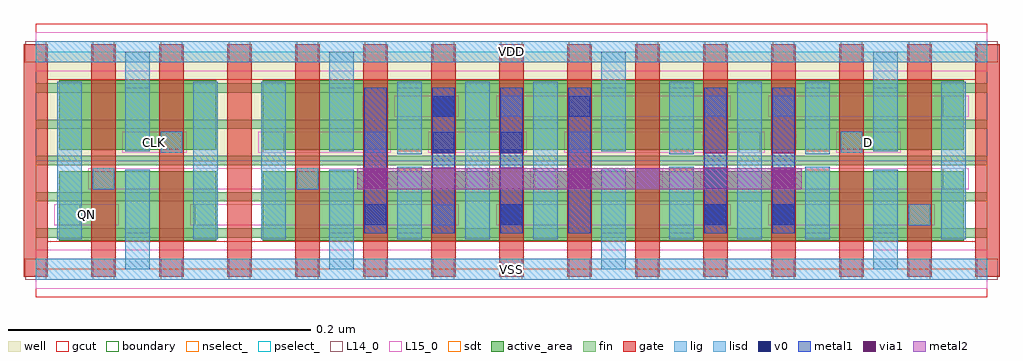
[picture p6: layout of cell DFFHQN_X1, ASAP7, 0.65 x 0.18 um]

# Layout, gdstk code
import gdstk
lib = gdstk.Library(unit=1e-6, precision=2.5e-10)
def R(c, l, rs):  # rectangles x0, y0, x1, y1
    for r in rs: c.add(gdstk.rectangle(r[:2], r[2:], *l))
def A(c, l, x, y, w, h, nx, ny, dx, dy):  # array of equal rectangles
    R(c, l, [(x+i*dx, y+j*dy, x+i*dx+w, y+j*dy+h) for i in range(nx) for j in range(ny)])
well = (1, 0)
fin = (2, 0)
gate = (7, 0)
gcut = (10, 0)
active_area = (11, 0)
nselect_ = (12, 0)
pselect_ = (13, 0)
L14_0 = (14, 0)
L15_0 = (15, 0)
lig = (16, 0)
lisd = (17, 0)
v0 = (18, 0)
metal1 = (19, 0)
metal2 = (20, 0)
via1 = (21, 0)
sdt = (88, 0)
boundary = (100, 0)

dffhqn_x1 = lib.new_cell('DFFHQN_X1')
R(dffhqn_x1, well, [(0,0.072,0.63,0.144)])
A(dffhqn_x1, fin, 0, 0.021, 0.63, 0.006, 1, 5, 0, 0.024)
A(dffhqn_x1, gate, -0.008, -0.005, 0.016, 0.154, 6, 1, 0.045, 0)
A(dffhqn_x1, gate, 0.532, -0.005, 0.016, 0.154, 3, 1, 0.045, 0)
R(dffhqn_x1, gate, [(0.262,-0.005,0.278,0.067), (0.307,-0.005,0.323,0.067), (0.352,-0.005,0.368,0.149), (0.397,-0.005,0.413,0.149), (0.442,-0.005,0.458,0.067), (0.487,-0.005,0.503,0.067), (0.262,0.077,0.278,0.149), (0.307,0.077,0.323,0.149), (0.442,0.077,0.458,0.149), (0.487,0.077,0.503,0.149)])
R(dffhqn_x1, gcut, [(0,-0.0185,0.63,0.0185), (-0.008,-0.005,0.008,0.149), (0.622,-0.005,0.638,0.149), (0.262,0.067,0.278,0.077), (0.307,0.067,0.323,0.077), (0.442,0.067,0.458,0.077), (0.487,0.067,0.503,0.077), (0,0.1255,0.63,0.1625)])
A(dffhqn_x1, active_area, 0.1505, 0.019, 0.059, 0.046, 10, 2, 0.045, 0.06)
R(dffhqn_x1, active_area, [(0.0155,0.019,0.0745,0.065), (0.0605,0.019,0.1195,0.065), (0.0155,0.079,0.0745,0.125), (0.0605,0.079,0.1195,0.125)])
R(dffhqn_x1, nselect_, [(0,0,0.63,0.072)])
R(dffhqn_x1, pselect_, [(0,0.072,0.63,0.144)])
A(dffhqn_x1, L14_0, -0.007, -0.007, 0.014, 0.014, 15, 2, 0.045, 0.144)
A(dffhqn_x1, L14_0, 0.083, 0.077, 0.014, 0.014, 3, 1, 0.0675, 0)
R(dffhqn_x1, L14_0, [(0.0155,0.029,0.0295,0.043), (0.1055,0.029,0.1195,0.043), (0.263,0.029,0.277,0.043), (0.308,0.029,0.322,0.043), (0.443,0.029,0.457,0.043), (0.488,0.029,0.502,0.043), (0.578,0.029,0.592,0.043), (0.038,0.053,0.052,0.067), (0.173,0.053,0.187,0.067), (0.2855,0.053,0.2995,0.067), (0.3305,0.053,0.3445,0.067), (0.398,0.053,0.412,0.067), (0.6005,0.053,0.6145,0.067), (0.353,0.077,0.367,0.091), (0.4655,0.077,0.4795,0.091), (0.533,0.077,0.547,0.091), (0.263,0.101,0.277,0.115), (0.308,0.101,0.322,0.115), (0.443,0.101,0.457,0.115), (0.488,0.101,0.502,0.115), (0.6005,0.101,0.6145,0.115)])
R(dffhqn_x1, L15_0, [(0,-0.013,0.63,0.013), (0.0125,0.029,0.055,0.043), (0.1025,0.029,0.28,0.043), (0.305,0.029,0.46,0.043), (0.485,0.029,0.595,0.043), (0.035,0.053,0.3025,0.067), (0.3275,0.053,0.415,0.067), (0.44,0.053,0.6175,0.067), (0.0575,0.077,0.1,0.091), (0.1475,0.077,0.235,0.091), (0.26,0.077,0.325,0.091), (0.35,0.077,0.4825,0.091), (0.53,0.077,0.5725,0.091), (0.2375,0.101,0.28,0.115), (0.305,0.101,0.46,0.115), (0.485,0.101,0.6175,0.115), (0,0.131,0.63,0.157)])
A(dffhqn_x1, lig, 0.083, 0.077, 0.014, 0.014, 3, 1, 0.135, 0)
R(dffhqn_x1, lig, [(0,-0.007,0.63,0.007), (0.263,0.029,0.277,0.043), (0.308,0.029,0.322,0.043), (0.443,0.029,0.457,0.043), (0.488,0.029,0.502,0.043), (0.578,0.029,0.592,0.043), (0.038,0.053,0.052,0.067), (0.173,0.053,0.187,0.067), (0.398,0.053,0.412,0.067), (0.533,0.077,0.547,0.091), (0.263,0.101,0.277,0.115), (0.308,0.101,0.322,0.115), (0.443,0.101,0.457,0.115), (0.488,0.101,0.502,0.115), (0,0.137,0.63,0.151)])
R(dffhqn_x1, lisd, [(0.0595,0,0.0755,0.066), (0.0595,0,0.0755,0.066), (0.1945,0,0.2105,0.066), (0.1945,0,0.2105,0.066), (0.3745,0,0.3905,0.066), (0.3745,0,0.3905,0.066), (0.5545,0,0.5705,0.066), (0.5545,0,0.5705,0.066), (0.0145,0.02,0.0305,0.124), (0.1045,0.02,0.1205,0.124), (0.1495,0.02,0.1655,0.124), (0.2395,0.02,0.2555,0.068), (0.2395,0.02,0.2555,0.068), (0.2845,0.02,0.3005,0.124), (0.2845,0.02,0.3005,0.124), (0.3295,0.02,0.3455,0.124), (0.3295,0.02,0.3455,0.124), (0.4195,0.02,0.4355,0.068), (0.4195,0.02,0.4355,0.068), (0.4645,0.02,0.4805,0.124), (0.4645,0.02,0.4805,0.124), (0.5095,0.02,0.5255,0.068), (0.5095,0.02,0.5255,0.068), (0.5995,0.02,0.6155,0.124), (0.2395,0.076,0.2555,0.124), (0.2395,0.076,0.2555,0.124), (0.4195,0.076,0.4355,0.124), (0.4195,0.076,0.4355,0.124), (0.5095,0.076,0.5255,0.124), (0.5095,0.076,0.5255,0.124), (0.0595,0.078,0.0755,0.144), (0.0595,0.078,0.0755,0.144), (0.1945,0.078,0.2105,0.144), (0.1945,0.078,0.2105,0.144), (0.3745,0.078,0.3905,0.144), (0.3745,0.078,0.3905,0.144), (0.5545,0.078,0.5705,0.144), (0.5545,0.078,0.5705,0.144)])
R(dffhqn_x1, v0, [(0.218,0.029,0.232,0.043), (0.308,0.029,0.322,0.043), (0.443,0.029,0.457,0.043), (0.488,0.029,0.502,0.043), (0.443,0.053,0.457,0.067), (0.263,0.077,0.277,0.091), (0.308,0.077,0.322,0.091), (0.263,0.101,0.277,0.115), (0.353,0.101,0.367,0.115)])
A(dffhqn_x1, metal1, 0.2175, 0.024, 0.015, 0.096, 4, 1, 0.045, 0)
R(dffhqn_x1, metal1, [(0.4425,0.024,0.4575,0.12), (0.4875,0.024,0.5025,0.12)])
R(dffhqn_x1, metal2, [(0.213,0.053,0.507,0.067)])
A(dffhqn_x1, via1, 0.218, 0.053, 0.014, 0.014, 3, 1, 0.135, 0)
R(dffhqn_x1, sdt, [(0.0145,0.02,0.0305,0.124), (0.1045,0.02,0.1205,0.124), (0.1495,0.02,0.1655,0.124), (0.2845,0.02,0.3005,0.124), (0.2845,0.02,0.3005,0.124), (0.3295,0.02,0.3455,0.124), (0.3295,0.02,0.3455,0.124), (0.4645,0.02,0.4805,0.124), (0.4645,0.02,0.4805,0.124), (0.5995,0.02,0.6155,0.124), (0.0595,0.024,0.0755,0.066), (0.0595,0.024,0.0755,0.066), (0.1945,0.024,0.2105,0.066), (0.1945,0.024,0.2105,0.066), (0.2395,0.024,0.2555,0.066), (0.2395,0.024,0.2555,0.066), (0.3745,0.024,0.3905,0.066), (0.3745,0.024,0.3905,0.066), (0.4195,0.024,0.4355,0.066), (0.4195,0.024,0.4355,0.066), (0.5095,0.024,0.5255,0.066), (0.5095,0.024,0.5255,0.066), (0.5545,0.024,0.5705,0.066), (0.5545,0.024,0.5705,0.066), (0.0595,0.078,0.0755,0.12), (0.0595,0.078,0.0755,0.12), (0.1945,0.078,0.2105,0.12), (0.1945,0.078,0.2105,0.12), (0.2395,0.078,0.2555,0.12), (0.2395,0.078,0.2555,0.12), (0.3745,0.078,0.3905,0.12), (0.3745,0.078,0.3905,0.12), (0.4195,0.078,0.4355,0.12), (0.4195,0.078,0.4355,0.12), (0.5095,0.078,0.5255,0.12), (0.5095,0.078,0.5255,0.12), (0.5545,0.078,0.5705,0.12), (0.5545,0.078,0.5705,0.12)])
R(dffhqn_x1, boundary, [(0,0,0.63,0.144)])
dffhqn_x1.add(gdstk.Label('VDD', (0.315,0.144), layer=1, texttype=251))
dffhqn_x1.add(gdstk.Label('VSS', (0.315,0), layer=3, texttype=251))
dffhqn_x1.add(gdstk.Label('QN', (0.0338,0.036), layer=15, texttype=251))
dffhqn_x1.add(gdstk.Label('CLK', (0.0788,0.084), layer=15, texttype=251))
dffhqn_x1.add(gdstk.Label('D', (0.5513,0.084), layer=15, texttype=251))
dffhqn_x1.add(gdstk.Label('VSS', (0.315,0), layer=15, texttype=251))
dffhqn_x1.add(gdstk.Label('VDD', (0.315,0.144), layer=15, texttype=251))

lib.write_gds('DFFHQN_X1.gds')
